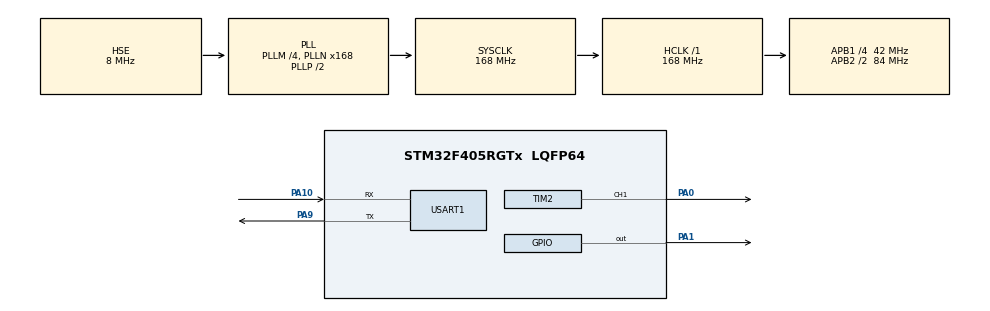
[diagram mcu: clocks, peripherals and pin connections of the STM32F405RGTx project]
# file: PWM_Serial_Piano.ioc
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Mcu.Family=STM32F4
Mcu.Name=STM32F405RGTx
Mcu.Package=LQFP64
NVIC.PriorityGroup=NVIC_PRIORITYGROUP_4
NVIC.USART1_IRQn=true\:0\:0\:false\:false\:true\:true\:true
PA0-WKUP.Signal=S_TIM2_CH1_ETR
PA1.Signal=GPIO_Output
PA10.Mode=Asynchronous
PA10.Signal=USART1_RX
PA13.Mode=Serial_Wire
PA13.Signal=SYS_JTMS-SWDIO
PA14.Mode=Serial_Wire
PA14.Signal=SYS_JTCK-SWCLK
PA9.Mode=Asynchronous
PA9.Signal=USART1_TX
PH0-OSC_IN.Mode=HSE-External-Oscillator
PH0-OSC_IN.Signal=RCC_OSC_IN
PH1-OSC_OUT.Mode=HSE-External-Oscillator
PH1-OSC_OUT.Signal=RCC_OSC_OUT
ProjectManager.HeapSize=0x200
ProjectManager.StackSize=0x400
ProjectManager.TargetToolchain=EWARM V8.32
RCC.48MHZClocksFreq_Value=84000000
RCC.AHBFreq_Value=168000000
RCC.APB1CLKDivider=RCC_HCLK_DIV4
RCC.APB1Freq_Value=42000000
RCC.APB1TimFreq_Value=84000000
RCC.APB2CLKDivider=RCC_HCLK_DIV2
RCC.APB2Freq_Value=84000000
RCC.APB2TimFreq_Value=168000000
RCC.CortexFreq_Value=168000000
RCC.HCLKFreq_Value=168000000
RCC.HSE_VALUE=8000000
RCC.HSI_VALUE=16000000
RCC.LSE_VALUE=32768
RCC.PLLM=4
RCC.PLLN=168
RCC.PLLSourceVirtual=RCC_PLLSOURCE_HSE
RCC.SYSCLKFreq_VALUE=168000000
RCC.SYSCLKSource=RCC_SYSCLKSOURCE_PLLCLK
RCC.VCOOutputFreq_Value=336000000
SH.S_TIM2_CH1_ETR.0=TIM2_CH1,PWM Generation1 CH1
TIM2.Channel-PWM\ Generation1\ CH1=TIM_CHANNEL_1
USART1.VirtualMode=VM_ASYNC
VP_TIM2_VS_ClockSourceINT.Mode=Internal
board=custom

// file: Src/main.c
/* USER CODE BEGIN Header */
/**
  ******************************************************************************
  * @file           : main.c
  * @brief          : Main program body
  ******************************************************************************
  * @attention
  *
  * <h2><center>&copy; Copyright (c) 2020 STMicroelectronics.
  * All rights reserved.</center></h2>
  *
  * This software component is licensed by ST under BSD 3-Clause license,
  * the "License"; You may not use this file except in compliance with the
  * License. You may obtain a copy of the License at:
  *                        opensource.org/licenses/BSD-3-Clause
  *
  ******************************************************************************
  */
/* USER CODE END Header */

#include "main.h"
#include "tim.h"
#include "usart.h"
#include "gpio.h"

void SystemClock_Config(void);

int main(void)
{
  /* USER CODE BEGIN 1 */
  unsigned int DoReMi[8] = {523,587,659,698,783,880,987,1046};
  unsigned long pwmfreq;

  uint8_t ch;
  /* USER CODE END 1 */

  /* MCU Configuration--------------------------------------------------------*/

  /* Reset of all peripherals, Initializes the Flash interface and the Systick. */
  HAL_Init();

  /* Configure the system clock */
  SystemClock_Config();

  /* Initialize all configured peripherals */
  MX_GPIO_Init();
  MX_TIM2_Init();
  MX_USART1_UART_Init();
  /* USER CODE BEGIN 2 */
  HAL_TIM_PWM_Start(&htim2, TIM_CHANNEL_1);
  /* USER CODE END 2 */

  /* Infinite loop */
  /* USER CODE BEGIN WHILE */
  while (1)
  {
     if(HAL_UART_Receive(&huart1, &ch, sizeof(ch),10)==HAL_OK)
     {
       if(ch == '0')
       {
        pwmfreq = 84000000/DoReMi[0];
        TIM2 -> ARR = pwmfreq - 1;
        TIM2-> CCR1 = pwmfreq / 2;
        HAL_Delay(300);
        TIM2-> CCR1 = 0;
       }
       if(ch == '1')
       {
        pwmfreq = 84000000/DoReMi[1];
        TIM2 -> ARR = pwmfreq - 1;
        TIM2-> CCR1 = pwmfreq / 2;
        HAL_Delay(300);
        TIM2-> CCR1 = 0;
       }
       if(ch == '2')
       {
        pwmfreq = 84000000/DoReMi[2];
        TIM2 -> ARR = pwmfreq - 1;
        TIM2-> CCR1 = pwmfreq / 2;
        HAL_Delay(300);
        TIM2-> CCR1 = 0;
       }
       if(ch == '3')
       {
        pwmfreq = 84000000/DoReMi[3];
        TIM2 -> ARR = pwmfreq - 1;
        TIM2-> CCR1 = pwmfreq / 2;
        HAL_Delay(300);
        TIM2-> CCR1 = 0;
       }
       if(ch == '4')
       {
        pwmfreq = 84000000/DoReMi[4];
        TIM2 -> ARR = pwmfreq - 1;
        TIM2-> CCR1 = pwmfreq / 2;
        HAL_Delay(300);
        TIM2-> CCR1 = 0;
       }
       if(ch == '5')
       {
        pwmfreq = 84000000/DoReMi[5];
        TIM2 -> ARR = pwmfreq - 1;
        TIM2-> CCR1 = pwmfreq / 2;
        HAL_Delay(300);
        TIM2-> CCR1 = 0;
       }
       if(ch == '6')
       {
        pwmfreq = 84000000/DoReMi[6];
        TIM2 -> ARR = pwmfreq - 1;
        TIM2-> CCR1 = pwmfreq / 2;
        HAL_Delay(300);
        TIM2-> CCR1 = 0;
       }
       if(ch == '7')
       {
        pwmfreq = 84000000/DoReMi[7];
        TIM2 -> ARR = pwmfreq - 1;
        TIM2-> CCR1 = pwmfreq / 2;
        HAL_Delay(300);
        TIM2-> CCR1 = 0;
       }
     }

    /* USER CODE END WHILE */

  }
}

void SystemClock_Config(void)
{
  RCC_OscInitTypeDef RCC_OscInitStruct = {0};
  RCC_ClkInitTypeDef RCC_ClkInitStruct = {0};

  /** Configure the main internal regulator output voltage
  */
  __HAL_RCC_PWR_CLK_ENABLE();
  __HAL_PWR_VOLTAGESCALING_CONFIG(PWR_REGULATOR_VOLTAGE_SCALE1);
  /** Initializes the CPU, AHB and APB busses clocks
  */
  RCC_OscInitStruct.OscillatorType = RCC_OSCILLATORTYPE_HSE;
  RCC_OscInitStruct.HSEState = RCC_HSE_ON;
  RCC_OscInitStruct.PLL.PLLState = RCC_PLL_ON;
  RCC_OscInitStruct.PLL.PLLSource = RCC_PLLSOURCE_HSE;
  RCC_OscInitStruct.PLL.PLLM = 4;
  RCC_OscInitStruct.PLL.PLLN = 168;
  RCC_OscInitStruct.PLL.PLLP = RCC_PLLP_DIV2;
  RCC_OscInitStruct.PLL.PLLQ = 4;
  if (HAL_RCC_OscConfig(&RCC_OscInitStruct) != HAL_OK)
  {
    Error_Handler();
  }
  /** Initializes the CPU, AHB and APB busses clocks
  */
  RCC_ClkInitStruct.ClockType = RCC_CLOCKTYPE_HCLK|RCC_CLOCKTYPE_SYSCLK
                              |RCC_CLOCKTYPE_PCLK1|RCC_CLOCKTYPE_PCLK2;
  RCC_ClkInitStruct.SYSCLKSource = RCC_SYSCLKSOURCE_PLLCLK;
  RCC_ClkInitStruct.AHBCLKDivider = RCC_SYSCLK_DIV1;
  RCC_ClkInitStruct.APB1CLKDivider = RCC_HCLK_DIV4;
  RCC_ClkInitStruct.APB2CLKDivider = RCC_HCLK_DIV2;

  if (HAL_RCC_ClockConfig(&RCC_ClkInitStruct, FLASH_LATENCY_5) != HAL_OK)
  {
    Error_Handler();
  }
}

void Error_Handler(void)
{
}

/************************ (C) COPYRIGHT STMicroelectronics *****END OF FILE****/
